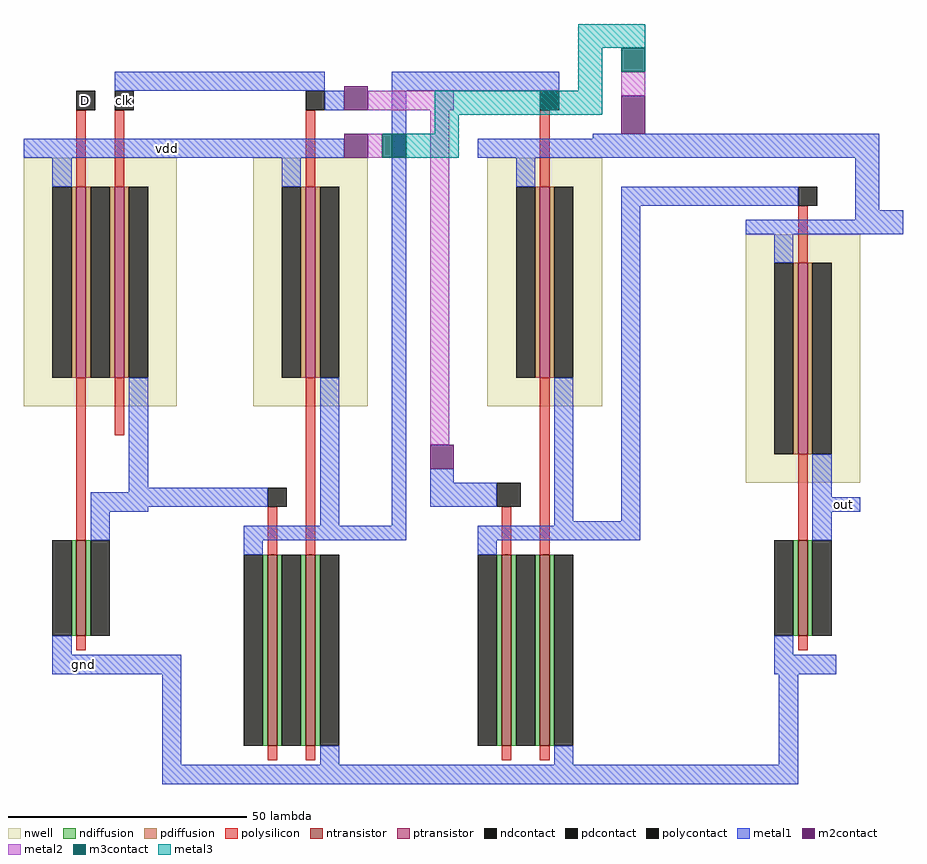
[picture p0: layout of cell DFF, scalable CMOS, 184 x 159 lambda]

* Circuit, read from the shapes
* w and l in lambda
.subckt DFF D clk gnd out vdd
M1 n1 D gnd VSUBS nfet w=20 l=2
M2 n2 n1 n3 VSUBS nfet w=40 l=2
M3 gnd clk n2 VSUBS nfet w=40 l=2
M4 n4 clk n5 VSUBS nfet w=40 l=2
M5 gnd n3 n4 VSUBS nfet w=40 l=2
M6 out n5 gnd VSUBS nfet w=20 l=2
M7 n6 D vdd n7 pfet w=40 l=2
M8 n1 clk n6 n7 pfet w=40 l=2
M9 n3 clk vdd n8 pfet w=40 l=2
M10 n5 n3 vdd n9 pfet w=40 l=2
M11 out n5 vdd n10 pfet w=40 l=2
.ends

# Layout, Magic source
magic
tech scmos
<< nwell >>
rect -14 74 18 126
rect 34 74 58 126
rect 83 74 107 126
rect 137 58 161 110
<< ntransistor >>
rect -3 26 -1 46
rect 37 3 39 43
rect 45 3 47 43
rect 86 3 88 43
rect 94 3 96 43
rect 148 26 150 46
<< ptransistor >>
rect -3 80 -1 120
rect 5 80 7 120
rect 45 80 47 120
rect 94 80 96 120
rect 148 64 150 104
<< ndiffusion >>
rect -4 26 -3 46
rect -1 26 0 46
rect 36 3 37 43
rect 39 3 40 43
rect 44 3 45 43
rect 47 3 48 43
rect 85 3 86 43
rect 88 3 89 43
rect 93 3 94 43
rect 96 3 97 43
rect 147 26 148 46
rect 150 26 151 46
<< pdiffusion >>
rect -4 80 -3 120
rect -1 80 0 120
rect 4 80 5 120
rect 7 80 8 120
rect 44 80 45 120
rect 47 80 48 120
rect 93 80 94 120
rect 96 80 97 120
rect 147 64 148 104
rect 150 64 151 104
<< ndcontact >>
rect -8 26 -4 46
rect 0 26 4 46
rect 32 3 36 43
rect 40 3 44 43
rect 48 3 52 43
rect 81 3 85 43
rect 89 3 93 43
rect 97 3 101 43
rect 143 26 147 46
rect 151 26 155 46
<< pdcontact >>
rect -8 80 -4 120
rect 0 80 4 120
rect 8 80 12 120
rect 40 80 44 120
rect 48 80 52 120
rect 89 80 93 120
rect 97 80 101 120
rect 143 64 147 104
rect 151 64 155 104
<< polysilicon >>
rect -3 120 -1 136
rect 5 120 7 136
rect 45 120 47 136
rect 94 120 96 136
rect 148 104 150 116
rect -3 46 -1 80
rect 5 68 7 80
rect 37 43 39 53
rect 45 43 47 80
rect 86 43 88 53
rect 94 43 96 80
rect 148 46 150 64
rect -3 23 -1 26
rect 148 23 150 26
rect 37 0 39 3
rect 45 0 47 3
rect 86 0 88 3
rect 94 0 96 3
<< polycontact >>
rect -3 136 1 140
rect 5 136 9 140
rect 45 136 49 140
rect 94 136 98 140
rect 148 116 152 120
rect 37 53 41 57
rect 85 53 90 58
<< metal1 >>
rect 5 140 49 144
rect 49 136 53 140
rect 63 140 98 144
rect -14 126 53 130
rect -8 120 -4 126
rect 40 120 44 126
rect 8 57 12 80
rect 8 56 37 57
rect 0 53 37 56
rect 0 52 12 53
rect 0 46 4 52
rect 48 49 52 80
rect 63 49 66 140
rect 105 130 165 131
rect 81 126 165 130
rect 89 120 93 126
rect 71 58 76 61
rect 71 53 85 58
rect 97 50 101 80
rect 111 116 148 120
rect 111 50 115 116
rect 160 115 165 126
rect 160 113 170 115
rect 137 110 170 113
rect 143 104 147 110
rect 97 49 115 50
rect 32 46 66 49
rect 81 46 115 49
rect 151 55 155 64
rect 151 52 161 55
rect 151 46 155 52
rect 32 43 36 46
rect 81 43 85 46
rect -8 22 -4 26
rect -8 18 19 22
rect 15 -1 19 18
rect 143 22 147 26
rect 143 18 156 22
rect 48 -1 52 3
rect 97 -1 101 3
rect 144 -1 148 18
rect 15 -5 148 -1
<< m2contact >>
rect 53 136 58 141
rect 53 126 58 131
rect 111 131 116 139
rect 71 61 76 66
<< metal2 >>
rect 58 136 76 140
rect 111 139 116 144
rect 58 126 61 131
rect 71 66 75 136
<< m3contact >>
rect 111 144 116 149
rect 61 126 66 131
<< metal3 >>
rect 102 149 116 154
rect 102 140 107 149
rect 72 135 107 140
rect 72 131 77 135
rect 66 126 77 131
<< labels >>
rlabel metal1 14 126 18 130 7 vdd
rlabel polycontact -3 136 1 140 5 D
rlabel polycontact 5 136 9 140 5 clk
rlabel metal1 -8 18 5 22 1 gnd
rlabel metal1 155 52 160 55 1 out
<< end >>
